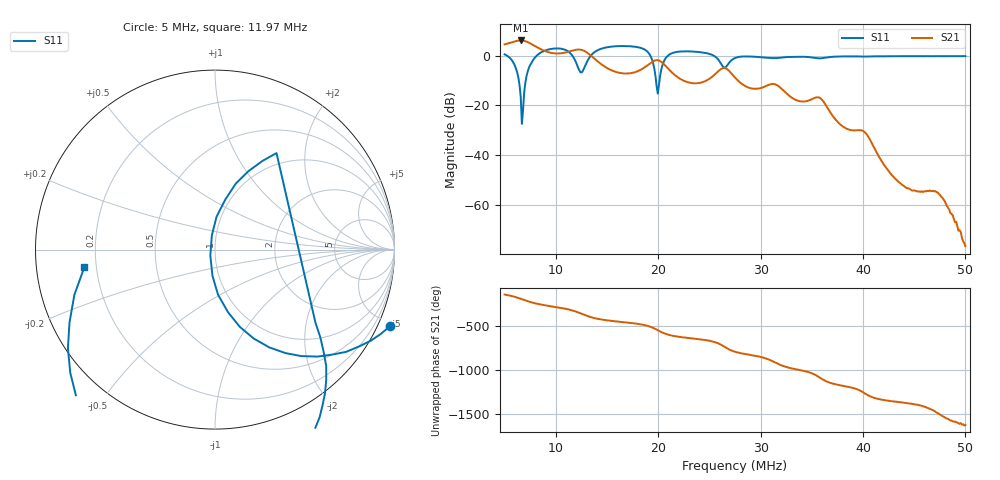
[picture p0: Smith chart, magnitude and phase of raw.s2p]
! S11/S21 only; reverse parameters are placeholders. Device calibration unverified.
! NanoVNA F V2 profile | COM3 | 2026-09-08T11:37:44.7402635-04:00 | device calibration unverified
# HZ S RI R 50
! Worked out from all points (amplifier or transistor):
!   401 points, 5 MHz to 50 MHz, reference 50 ohm
!   highest |S21| = 6.1 dB at 6.575 MHz (marker M1)
!   |S21| within 3 dB of that: start of sweep to 8.286 MHz
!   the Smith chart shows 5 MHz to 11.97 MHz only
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5000000  0.9751 -0.4267  -1.194 -1.2  0 0  0 0
6012500  0.3023 -0.5448  -1.843 -0.608  0 0  0 0
6575000  -0.014 -0.1463  -2.02 0.1133  0 0  0 0
7250000  0.1863 0.437  -1.613 0.957  0 0  0 0
7812500  0.606 -0.5735  -1.038 1.251  0 0  0 0
1.02875e7  -0.1597 -1.389  0.2508 1.08  0 0  0 0
1.16375e7  -0.8194 -0.5484  0.9383 0.8518  0 0  0 0
1.25375e7  -0.0825 0.4546  1.303 0.0886  0 0  0 0
1.34375e7  0.9907 0.1941  0.8232 -0.5603  0 0  0 0
1.43375e7  1.303 -0.3809  0.3635 -0.5939  0 0  0 0
1.8275e7  0.5786 -1.315  -0.2254 -0.4664  0 0  0 0
1.95125e7  -0.3401 -0.6094  -0.713 -0.2962  0 0  0 0
2.0075e7  0.0448 0.256  -0.7854 0.1538  0 0  0 0
2.165e7  1.16 -0.1579  -0.1217 0.3847  0 0  0 0
2.51375e7  0.8149 -0.6838  0.2206 0.283  0 0  0 0
2.6375e7  0.4731 -0.3454  0.5608 -0.0581  0 0  0 0
2.75e7  0.8646 -0.237  0.1208 -0.3427  0 0  0 0
3.12125e7  0.7416 -0.4966  -0.2694 0.00547  0 0  0 0
3.50375e7  0.6315 -0.6708  0.1008 0.0888  0 0  0 0
4.2575e7  0.4415 -0.8682  0.000261 0.00453  0 0  0 0
4.74125e7  0.2577 -0.941  0.000769 -0.00147  0 0  0 0
5e7  0.1599 -0.9656  -0.000146 2.3e-05  0 0  0 0
